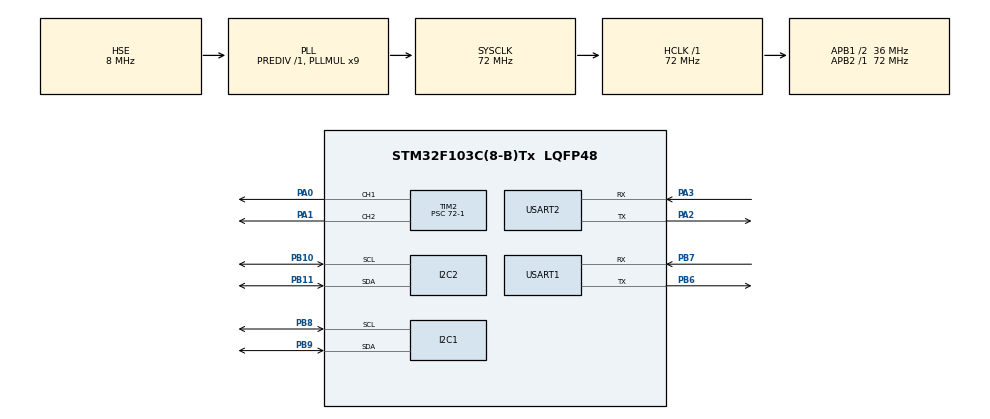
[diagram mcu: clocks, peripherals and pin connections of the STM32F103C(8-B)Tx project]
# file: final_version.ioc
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Mcu.Family=STM32F1
Mcu.Name=STM32F103C(8-B)Tx
Mcu.Package=LQFP48
NVIC.PriorityGroup=NVIC_PRIORITYGROUP_4
NVIC.TIM1_UP_IRQn=true\:0\:0\:true\:false\:true\:true\:true
NVIC.USART2_IRQn=true\:0\:0\:true\:false\:true\:true\:true
PA0-WKUP.Signal=S_TIM2_CH1_ETR
PA1.Signal=S_TIM2_CH2
PA2.Mode=Asynchronous
PA2.Signal=USART2_TX
PA3.Mode=Asynchronous
PA3.Signal=USART2_RX
PB10.Mode=I2C
PB10.Signal=I2C2_SCL
PB11.Mode=I2C
PB11.Signal=I2C2_SDA
PB6.Mode=Asynchronous
PB6.Signal=USART1_TX
PB7.Mode=Asynchronous
PB7.Signal=USART1_RX
PB8.Mode=I2C
PB8.Signal=I2C1_SCL
PB9.Mode=I2C
PB9.Signal=I2C1_SDA
PC14-OSC32_IN.Mode=LSE-External-Oscillator
PC14-OSC32_IN.Signal=RCC_OSC32_IN
PC15-OSC32_OUT.Mode=LSE-External-Oscillator
PC15-OSC32_OUT.Signal=RCC_OSC32_OUT
PD0-OSC_IN.Mode=HSE-External-Oscillator
PD0-OSC_IN.Signal=RCC_OSC_IN
PD1-OSC_OUT.Mode=HSE-External-Oscillator
PD1-OSC_OUT.Signal=RCC_OSC_OUT
ProjectManager.HeapSize=0x200
ProjectManager.StackSize=0x400
ProjectManager.TargetToolchain=MDK-ARM V5.27
RCC.AHBFreq_Value=72000000
RCC.APB1CLKDivider=RCC_HCLK_DIV2
RCC.APB1Freq_Value=36000000
RCC.APB1TimFreq_Value=72000000
RCC.APB2Freq_Value=72000000
RCC.APB2TimFreq_Value=72000000
RCC.HCLKFreq_Value=72000000
RCC.PLLMUL=RCC_PLL_MUL9
RCC.PLLSourceVirtual=RCC_PLLSOURCE_HSE
RCC.SYSCLKFreq_VALUE=72000000
RCC.SYSCLKSource=RCC_SYSCLKSOURCE_PLLCLK
RCC.USBFreq_Value=72000000
SH.S_TIM2_CH1_ETR.0=TIM2_CH1,Output Compare1 CH1
SH.S_TIM2_CH2.0=TIM2_CH2,Output Compare2 CH2
TIM1.AutoReloadPreload=TIM_AUTORELOAD_PRELOAD_ENABLE
TIM1.Period=20000-1
TIM1.Prescaler=72-1
TIM2.AutoReloadPreload=TIM_AUTORELOAD_PRELOAD_ENABLE
TIM2.Channel-Output\ Compare1\ CH1=TIM_CHANNEL_1
TIM2.Channel-Output\ Compare2\ CH2=TIM_CHANNEL_2
TIM2.Period=20000-1
TIM2.Prescaler=72-1
USART1.VirtualMode=VM_ASYNC
USART2.VirtualMode=VM_ASYNC
VP_SYS_VS_ND.Mode=No_Debug
VP_TIM1_VS_ClockSourceINT.Mode=Internal
VP_TIM2_VS_ClockSourceINT.Mode=Internal
board=custom

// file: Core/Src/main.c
/* USER CODE BEGIN Header */
/**
  ******************************************************************************
  * @file           : main.c
  * @brief          : Main program body
  ******************************************************************************
  * @attention
  *
  * <h2><center>&copy; Copyright (c) 2021 STMicroelectronics.
  * All rights reserved.</center></h2>
  *
  * This software component is licensed by ST under BSD 3-Clause license,
  * the "License"; You may not use this file except in compliance with the
  * License. You may obtain a copy of the License at:
  *                        opensource.org/licenses/BSD-3-Clause
  *
  ******************************************************************************
  */
/* USER CODE END Header */
#include "main.h"
#include "i2c.h"
#include "tim.h"
#include "usart.h"
#include "gpio.h"

/* USER CODE BEGIN Includes */
#include "mpu6050.h"
#include "inv_mpu.h"
#include "inv_mpu_dmp_motion_driver.h"
#include "servo.h"

/**
  * @brief  串口发送函数
  * @retval None
  */
#include "stdio.h"
#include "stdarg.h"
#include "string.h"

#define    TXBUF_SIZE_MAX    100

void uartx_printf(UART_HandleTypeDef huartx, const char *format, ...)
{
    va_list args;
    uint32_t length;
    uint8_t txbuf[TXBUF_SIZE_MAX] = {0};

    va_start(args, format);
    length = vsnprintf((char *)txbuf, sizeof(txbuf), (char *)format, args);
    va_end(args);
    HAL_UART_Transmit(&huartx, (uint8_t *)txbuf, length, HAL_MAX_DELAY);
    memset(txbuf, 0, TXBUF_SIZE_MAX);
};

/**
  * @brief  串口调试
  * @retval None
  */
#define DEBUG
#ifdef DEBUG
#define DBG(format, ...) fprintf(stdout, "[\tDBG](File:%s, Func:%s(), Line:%d): " \
                                , __FILE__, __FUNCTION__, __LINE__);             \
                         fprintf(stdout, format"\r\n", ##__VA_ARGS__)
#else
#define DBG(format, ...)  do {} while (0)
#endif

int fputc(int ch, FILE *f){
    uint8_t temp[1] = {ch};
    HAL_UART_Transmit(&huart2, temp, 1, 2);//huart1 根据配置修改
    return ch;
}
/* USER CODE END Includes */

/* USER CODE BEGIN PV */
float pitch , roll, yaw;
float pitch1, roll1, yaw1;
short aacx, aacy, aacz;

short gyrox, gyroy, gyroz;

short temp;
float velocity = 0;
uint8_t cnt = 0;
double pitch3;

uint8_t UART1_RxBuffer, UART2_RxBuffer;
uint8_t buffer1[4] = "\0";
uint8_t mode = 0x01; //几个测试点

/* USER CODE END PV */

void SystemClock_Config(void);
/* USER CODE BEGIN PFP */
void usart1_send_char(uint8_t c);
void usart1_niming_report(uint8_t fun,uint8_t*data,uint8_t len);
void mpu6050_send_data(float pitch,float roll,float yaw);

/* USER CODE END PFP */

int main(void)
{

  /* MCU Configuration--------------------------------------------------------*/

  /* Reset of all peripherals, Initializes the Flash interface and the Systick. */
  HAL_Init();

  /* Configure the system clock */
  SystemClock_Config();

  /* Initialize all configured peripherals */
  MX_GPIO_Init();
  MX_I2C1_Init();
  MX_I2C2_Init();
  MX_TIM1_Init();
  MX_TIM2_Init();
  MX_USART1_UART_Init();
  MX_USART2_UART_Init();
  /* USER CODE BEGIN 2 */
//  while(mpu_dmp_init())//
//  {
//   	//uartx_printf(huart1, "MPU6050 Error!!!\r\n");
//    HAL_Delay(500);
//  }
    //uartx_printf(huart1, "MPU6050 OK\r\n");

  //HAL_TIM_Base_Start_IT(&htim1); //开启定时器中断
  HAL_TIM_PWM_Start(&htim2, TIM_CHANNEL_1); //开启PWM
	HAL_TIM_PWM_Start(&htim2, TIM_CHANNEL_2); //开启PWM
   //不是函数问题
  //Servo_Init(); //云台初始化，两自由度均为90°
  Tim_SetPWM(2, 1, 1500);
  Tim_SetPWM(2, 2, 1500);
//  __HAL_TIM_SET_COMPARE(&htim2, TIM_CHANNEL_2, 1500);
//  __HAL_TIM_SET_COMPARE(&htim2, TIM_CHANNEL_2, 1500);
  //PID_Init(); //PID初始化
  /* USER CODE END 2 */

  /* Infinite loop */
  /* USER CODE BEGIN WHILE */
  while (1)
  {
    DBG("ww\r\n");
    if(mpu_dmp_get_data(&pitch,&roll,&yaw)==0)
    {
				temp=MPU_Get_Temperature();
				MPU_Get_Accelerometer(&aacx,&aacy,&aacz);
				MPU_Get_Gyroscope(&gyrox,&gyroy,&gyroz);
        mpu6050_send_data(pitch,roll,yaw);
        pitch3 = pitch;//第一个测试点的PID

        //uartx_printf(huart1, "roll: %f  pitch: %f  temp: %f\r\n", roll, pitch, temp);
    }
    if(mode == 0x01) //模式1：垂直
      Tim_SetPWM(2, 1, positionx_pid.output); //定时器2通道1
    else if(mode == 0x02) //模式2：定点
      Tim_SetPWM(2, 2, pitch2_pulses + pitch3_pulses);
    else if(mode == 0x03){ }//模式3:画圆
    /* USER CODE END WHILE */

  }
}

void SystemClock_Config(void)
{
  RCC_OscInitTypeDef RCC_OscInitStruct = {0};
  RCC_ClkInitTypeDef RCC_ClkInitStruct = {0};

  /** Initializes the RCC Oscillators according to the specified parameters
  * in the RCC_OscInitTypeDef structure.
  */
  RCC_OscInitStruct.OscillatorType = RCC_OSCILLATORTYPE_HSE;
  RCC_OscInitStruct.HSEState = RCC_HSE_ON;
  RCC_OscInitStruct.HSEPredivValue = RCC_HSE_PREDIV_DIV1;
  RCC_OscInitStruct.HSIState = RCC_HSI_ON;
  RCC_OscInitStruct.PLL.PLLState = RCC_PLL_ON;
  RCC_OscInitStruct.PLL.PLLSource = RCC_PLLSOURCE_HSE;
  RCC_OscInitStruct.PLL.PLLMUL = RCC_PLL_MUL9;
  if (HAL_RCC_OscConfig(&RCC_OscInitStruct) != HAL_OK)
  {
    Error_Handler();
  }
  /** Initializes the CPU, AHB and APB buses clocks
  */
  RCC_ClkInitStruct.ClockType = RCC_CLOCKTYPE_HCLK|RCC_CLOCKTYPE_SYSCLK
                              |RCC_CLOCKTYPE_PCLK1|RCC_CLOCKTYPE_PCLK2;
  RCC_ClkInitStruct.SYSCLKSource = RCC_SYSCLKSOURCE_PLLCLK;
  RCC_ClkInitStruct.AHBCLKDivider = RCC_SYSCLK_DIV1;
  RCC_ClkInitStruct.APB1CLKDivider = RCC_HCLK_DIV2;
  RCC_ClkInitStruct.APB2CLKDivider = RCC_HCLK_DIV1;

  if (HAL_RCC_ClockConfig(&RCC_ClkInitStruct, FLASH_LATENCY_2) != HAL_OK)
  {
    Error_Handler();
  }
}

/* USER CODE BEGIN 4 */
void usart1_send_char(uint8_t c)
{
    while((USART1->SR&0X40)==0);//等待上一次发送完??????????????????????
    USART1->DR=c;
}

void usart1_niming_report(uint8_t fun,uint8_t*data,uint8_t len)
{
    uint8_t send_buf[32];
    uint8_t i;
    if(len>28)return;    //????????????????????????????????????????????28字节数据
    send_buf[len+3]=0;  //校验数置??????????????????????
    send_buf[0]=0X88;   //帧头
    send_buf[1]=fun;    //功能??????????????????????
    send_buf[2]=len;    //数据长度
    for(i=0;i<len;i++)send_buf[3+i]=data[i];         //复制数据
    for(i=0;i<len+3;i++)send_buf[len+3]+=send_buf[i];    //计算校验??????????????????????
    for(i=0;i<len+4;i++)usart1_send_char(send_buf[i]);   //发???数据到串口1
}

void mpu6050_send_data(float pitch,float roll,float yaw)
{
    uint8_t tbuf[16];
    unsigned char *p;
    p=(unsigned char *)&pitch;
    tbuf[0]=(unsigned char)(*(p+3));
    tbuf[1]=(unsigned char)(*(p+2));
    tbuf[2]=(unsigned char)(*(p+1));
    tbuf[3]=(unsigned char)(*(p+0));

    p=(unsigned char *)&roll;
    tbuf[4]=(unsigned char)(*(p+3));
    tbuf[5]=(unsigned char)(*(p+2));
    tbuf[6]=(unsigned char)(*(p+1));
    tbuf[7]=(unsigned char)(*(p+0));

    p=(unsigned char *)&yaw;
    tbuf[8]=(unsigned char)(*(p+3));
    tbuf[9]=(unsigned char)(*(p+2));
    tbuf[10]=(unsigned char)(*(p+1));
    tbuf[11]=(unsigned char)(*(p+0));

    usart1_niming_report(0XA2,tbuf,12);//自定义帧,0XA2
}

/*20ms为周期开始的中断*/
/**
  * @brief  定时器中断回调函数
  * @param  xxxx
  * @retval xxxx
  * @claim  我们只需要输入误差值，即返回要输入的pulses,如果采样频率过快可以后期增加
  * @claim  俯仰角前正后负，翻滚角左负右正
  */
void HAL_TIM_PeriodElapsedCallback(TIM_HandleTypeDef *htim) {

  //DBG("have received successfully!\r\n");
  //DBG("have received successfully!\r\n");
//  uint32_t output_temp;
  //mode = buffer1[1];    //串口中断赋值
  //uartx_printf(huart1, "MPU6050 Error!!!\r\n");
  if (htim->Instance == htim1.Instance){
    if(mode == 0x01)
    { //模式1
      //调节pid1为了使水平
      positionx_pid.measured_value =  pitch2_pulses; //传入测出的俯仰角
      positionx_pid.error          =  positionx_pid.measured_value - positionx_pid.set_value;
      positionx_pid.integral       =  positionx_pid.integral + positionx_pid.error * 0.02; //dt为采样频率，为0.02s
      positionx_pid.derival        =  (positionx_pid.error - positionx_pid.passive_error) / 0.02; //dt为采样频率（用定时器中断）  //判断一下是加还是减
      positionx_pid.output         =  current_pulses_x - (positionx_pid.kp * positionx_pid.error + positionx_pid.ki * positionx_pid.integral + positionx_pid.kd * positionx_pid.derival);
    //    positionx_pid.output         =  output_temp > 1500 ? 1500 : output_temp;
//    positionx_pid.output         =  output_temp <  500 ?  500 : output_temp;
      positionx_pid.passive_error  =  positionx_pid.error;
    }
    //DBG("have received successfully!\r\n");
    //模式2
    //为了使之定点
    else if(mode == 0x02){
      positiony_pid.measured_value =  pitch2_pulses;   //还是来自第二个舵机上的角度传感器的测量值，用于调节定点,需要pitch2进行转换
      positiony_pid.error          =  positiony_pid.measured_value - positiony_pid.set_value;
      positiony_pid.integral       =  positiony_pid.integral + positiony_pid.error * 0.02; //dt为采样频率
      positiony_pid.derival        =  (positiony_pid.error - positiony_pid.passive_error) / 0.02; //dt为采样频率（用定时器中断）   //判断一下是加还是减
      positiony_pid.output         =  current_pulses_y + (positiony_pid.kp * positiony_pid.error + positiony_pid.ki * positiony_pid.integral + positiony_pid.kd * positiony_pid.derival) ;
    //    positionx_pid.output         =  output_temp > 1500 ? 1500 : output_temp;
//    positionx_pid.output         =  output_temp <  500 ?  500 : output_temp;
      positiony_pid.passive_error  =  positiony_pid.error;
    }
    else{}//模式3  待写
  }
}
/* USER CODE END 4 */

void Error_Handler(void)
{
}

/************************ (C) COPYRIGHT STMicroelectronics *****END OF FILE****/
